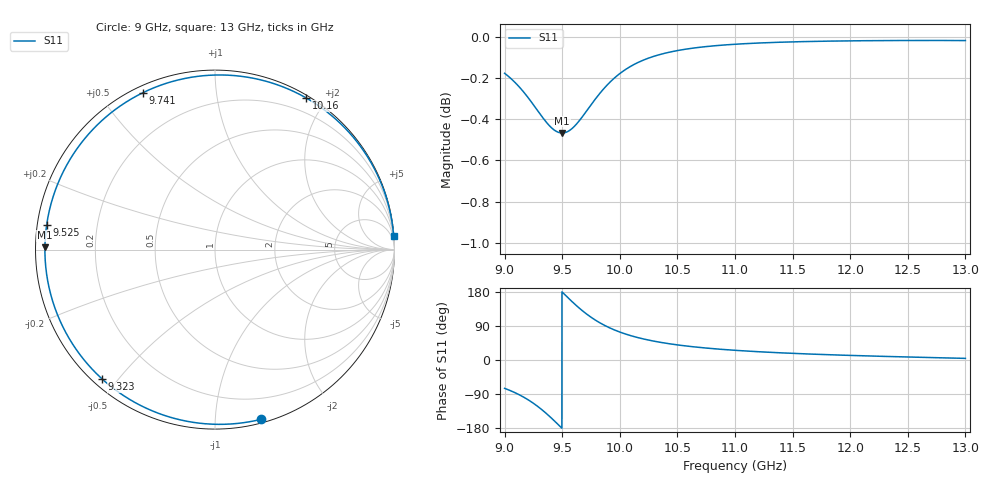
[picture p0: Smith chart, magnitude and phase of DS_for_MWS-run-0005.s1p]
! TOUCHSTONE file generated by CST DESIGN STUDIO
! Date and time: Tue Feb  4 13:52:43 2025
! Project name: C:\Work\MatlabApps\UnitCellOptimizationMatlab\CST\unitcell.cst
! Tree item: Tasks\Sweep1\SPara1\S-Parameters
! Header version: 2024
! Port assignment regex: !\s*Touchstone port\s*([0-9]+)\s*=\s*(CST MWS port|CST DES external port|CST DES block port)\s*(.+)\s* \(\"(.*)\"\)(\s*mode\s*([0-9]+))?.*
! Touchstone port assignment:
! Touchstone port 1 = CST DES external port 1 ("")
# GHz S MA R 50
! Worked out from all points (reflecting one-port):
!   4001 points, 9 GHz to 13 GHz, reference 50 ohm
!   lowest |S11| = -0.5 dB at 9.5 GHz (marker M1), VSWR 37.26, Z = 1.34 + j0.35 ohm
!   phase of S11 starts at -75 deg and turns -281 deg over the sweep
!   S11 on the Smith chart (normalised r, x): 9 GHz: 0.03, -1.31; 9.323 GHz: 0.03, -0.46; 9.525 GHz: 0.03, +0.07; 9.741 GHz: 0.03, +0.64; 10.16 GHz: 0.03, +1.77; 13 GHz: 1, +27
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9  0.9799 -74.8
9.085  0.9753 -85.5
9.186  0.9681 -101.7
9.257  0.9622 -115.7
9.323  0.9566 -131.0
9.37  0.9529 -143.2
9.42  0.9498 -157.2
9.461  0.9482 -169.2
9.5  0.9477 179.2
9.525  0.9479 171.7
9.578  0.9497 156.2
9.638  0.9535 139.6
9.689  0.9575 126.6
9.741  0.962 114.8
9.794  0.9664 104.1
9.852  0.9709 93.9
9.925  0.9757 83.0
10  0.9798 73.8
10.076  0.9831 66.0
10.159  0.9859 58.9
10.314  0.9897 48.7
10.5  0.9925 39.9
10.722  0.9945 32.3
11  0.996 25.6
11.5  0.9973 17.5
12  0.9979 12.1
12.5  0.9981 7.9
13  0.998 4.3
